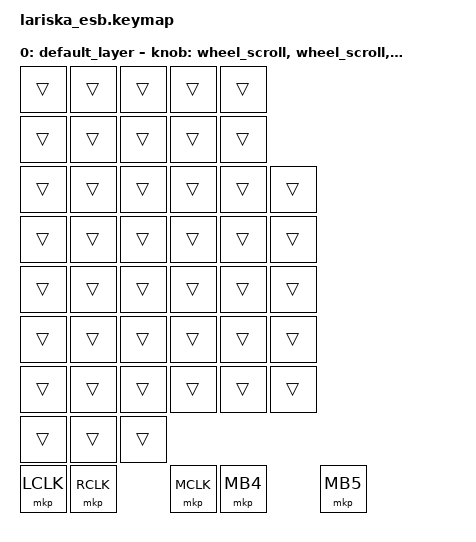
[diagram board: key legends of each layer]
/* Keymap for the lariska_esb peripheral firmware.
 * The peripheral transmits key positions to the central; behaviors here are
 * never executed on the peripheral — they just need to compile.
 *
 * Key layout (48 total):
 *   positions  0-42 : roBa keyboard keys (never activated on this peripheral)
 *   positions 43-47 : lariska mouse buttons (LCLK RCLK MCLK MB4 MB5)
 *
 * Sensor layout (3 total):
 *   sensor 0 : left_encoder  (disabled on this peripheral — roBa left side)
 *   sensor 1 : right_encoder (disabled on this peripheral — roBa right side)
 *   sensor 2 : lariska_encoder / qdec0 (ACTIVE — the scroll wheel)
 */

#include <behaviors.dtsi>
#include <dt-bindings/zmk/keys.h>
#include <dt-bindings/zmk/pointing.h>

/ {
    behaviors {
        wheel_scroll: wheel_scroll {
            compatible = "zmk,behavior-sensor-rotate";
            #sensor-binding-cells = <0>;
            tap-ms = <20>;
            bindings = <&msc SCRL_UP>, <&msc SCRL_DOWN>;
        };
    };

    keymap {
        compatible = "zmk,keymap";

        default_layer {
            /*
             * 48 bindings:
             *   row 0 (10): roBa top row
             *   row 1 (12): roBa home row + thumb key
             *   row 2 (12): roBa bottom row + thumb key
             *   row 3 ( 9): roBa thumb cluster
             *   lariska( 5): LCLK RCLK MCLK MB4 MB5
             */
            bindings = <
                /* row 0: 10 */
                &trans &trans &trans &trans &trans
                &trans &trans &trans &trans &trans
                /* row 1: 12 */
                &trans &trans &trans &trans &trans &trans
                &trans &trans &trans &trans &trans &trans
                /* row 2: 12 */
                &trans &trans &trans &trans &trans &trans
                &trans &trans &trans &trans &trans &trans
                /* row 3: 9 */
                &trans &trans &trans &trans &trans &trans
                &trans &trans &trans
                /* lariska mouse buttons: 5 */
                &mkp LCLK &mkp RCLK &mkp MCLK &mkp MB4 &mkp MB5
            >;
            /* sensor 0=left enc (unused), sensor 1=right enc (unused), sensor 2=qdec scroll */
            sensor-bindings = <&wheel_scroll &wheel_scroll &wheel_scroll>;
        };
    };
};
